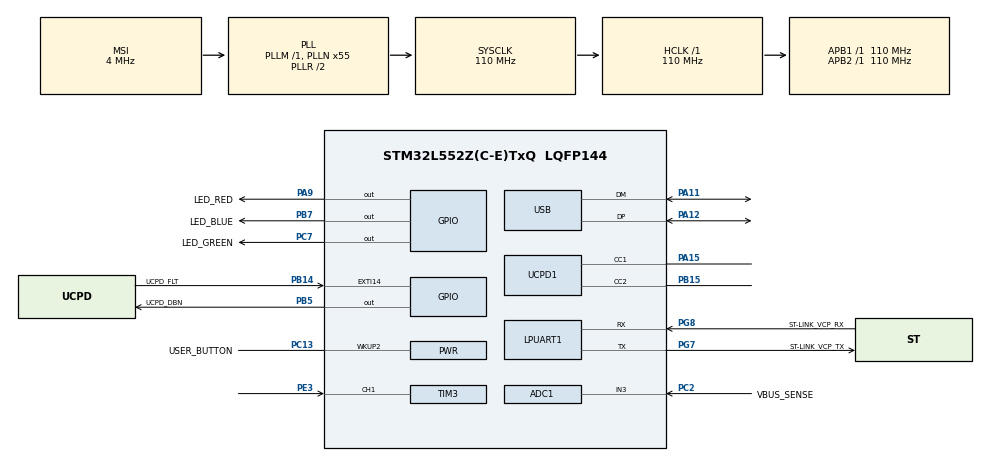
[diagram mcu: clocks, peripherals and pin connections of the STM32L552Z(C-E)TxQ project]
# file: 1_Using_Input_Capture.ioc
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ADC1.Channel-0\#ChannelRegularConversion=ADC_CHANNEL_3
ADC1.NbrOfConversionFlag=1
ADC1.OffsetNumber-0\#ChannelRegularConversion=ADC_OFFSET_NONE
ADC1.Rank-0\#ChannelRegularConversion=1
ADC1.SamplingTime-0\#ChannelRegularConversion=ADC_SAMPLETIME_2CYCLES_5
ADC1.master=1
Mcu.Family=STM32L5
Mcu.Name=STM32L552Z(C-E)TxQ
Mcu.Package=LQFP144
Mcu.TrustZone=disable
NVIC.PriorityGroup=NVIC_PRIORITYGROUP_3
NVIC.TIM3_IRQn=true\:0\:0\:false\:false\:true\:true\:true\:true
PA11.Mode=Device
PA11.Signal=USB_DM
PA12.Mode=Device
PA12.Signal=USB_DP
PA13\ (JTMS/SWDIO).Mode=Trace_Asynchronous_SW
PA13\ (JTMS/SWDIO).Signal=DEBUG_JTMS-SWDIO
PA14\ (JTCK/SWCLK).Mode=Trace_Asynchronous_SW
PA14\ (JTCK/SWCLK).Signal=DEBUG_JTCK-SWCLK
PA15\ (JTDI).Mode=Source_AllSignals
PA15\ (JTDI).Signal=UCPD1_CC1
PA9.GPIO_Label=LED_RED
PA9.Signal=GPIO_Output
PB14.GPIO_Label=UCPD_FLT
PB14.Signal=GPXTI14
PB15.Mode=Source_AllSignals
PB15.Signal=UCPD1_CC2
PB3\ (JTDO/TRACESWO).Mode=Trace_Asynchronous_SW
PB3\ (JTDO/TRACESWO).Signal=DEBUG_JTDO-SWO
PB5.GPIO_Label=UCPD_DBN
PB5.Signal=GPIO_Output
PB7.GPIO_Label=LED_BLUE
PB7.Signal=GPIO_Output
PC13.GPIO_Label=USER_BUTTON
PC13.Mode=WakeUp1
PC13.Signal=PWR_WKUP2
PC14-OSC32_IN\ (PC14).Mode=LSE-External-Oscillator
PC14-OSC32_IN\ (PC14).Signal=RCC_OSC32_IN
PC15-OSC32_OUT\ (PC15).Mode=LSE-External-Oscillator
PC15-OSC32_OUT\ (PC15).Signal=RCC_OSC32_OUT
PC2.GPIO_Label=VBUS_SENSE
PC2.Signal=ADCx_IN3
PC7.GPIO_Label=LED_GREEN
PC7.Signal=GPIO_Output
PE3.Signal=S_TIM3_CH1
PG7.GPIO_Label=ST-LINK_VCP_TX
PG7.Mode=Asynchronous
PG7.Signal=LPUART1_TX
PG8.GPIO_Label=ST-LINK_VCP_RX
PG8.Mode=Asynchronous
PG8.Signal=LPUART1_RX
ProjectManager.HeapSize=0x200
ProjectManager.StackSize=0x400
ProjectManager.TargetToolchain=STM32CubeIDE
RCC.ADCCLockSelection=RCC_ADCCLKSOURCE_SYSCLK
RCC.ADCFreq_Value=110000000
RCC.AHBFreq_Value=110000000
RCC.APB1Freq_Value=110000000
RCC.APB1TimFreq_Value=110000000
RCC.APB2Freq_Value=110000000
RCC.APB2TimFreq_Value=110000000
RCC.CK48CLockSelection=RCC_USBCLKSOURCE_HSI48
RCC.CortexFreq_Value=110000000
RCC.HCLKFreq_Value=110000000
RCC.HSE_VALUE=8000000
RCC.HSI48_VALUE=48000000
RCC.HSI_VALUE=16000000
RCC.MSI_VALUE=4000000
RCC.PLLN=55
RCC.PLLSAI1N=24
RCC.RTCClockSelection=RCC_RTCCLKSOURCE_LSE
RCC.SYSCLKFreq_VALUE=110000000
RCC.SYSCLKSource=RCC_SYSCLKSOURCE_PLLCLK
RCC.USBFreq_Value=48000000
RCC.VCOOutputFreq_Value=220000000
SH.ADCx_IN3.0=ADC1_IN3,IN3-Single-Ended
SH.S_TIM3_CH1.0=TIM3_CH1,Input_Capture1_from_TI1
TIM3.Channel-Input_Capture1_from_TI1=TIM_CHANNEL_1
TIM3.Period=65536-1
VP_PWR_VS_DBSignals.Mode=DisableDeadBatterySignals
VP_RTC_VS_RTC_Activate.Mode=RTC_Enabled
board=NUCLEO-L552ZE-Q

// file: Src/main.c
/* USER CODE BEGIN Header */
/**
  ******************************************************************************
  * @file           : main.c
  * @brief          : Main program body
  ******************************************************************************
  * @attention
  *
  * Copyright (c) 2022 STMicroelectronics.
  * All rights reserved.
  *
  * This software is licensed under terms that can be found in the LICENSE file
  * in the root directory of this software component.
  * If no LICENSE file comes with this software, it is provided AS-IS.
  *
  ******************************************************************************
  */
/* USER CODE END Header */
#include "main.h"

ADC_HandleTypeDef hadc1;

UART_HandleTypeDef hlpuart1;

RTC_HandleTypeDef hrtc;

TIM_HandleTypeDef htim3;

PCD_HandleTypeDef hpcd_USB_FS;

void SystemClock_Config(void);
static void MX_GPIO_Init(void);
static void MX_ADC1_Init(void);
static void MX_LPUART1_UART_Init(void);
static void MX_RTC_Init(void);
static void MX_UCPD1_Init(void);
static void MX_USB_PCD_Init(void);
static void MX_TIM3_Init(void);

/* USER CODE BEGIN 0 */

uint32_t IC_Value1 = 0;
uint32_t IC_Value2 = 0;

uint32_t Difference = 0;

uint32_t PCLK1Freq = 0;
uint32_t PCLK2Freq = 0;

uint32_t Frequency = 0;

uint32_t i;

// is the first value captured ? 0-no 1-yes
uint8_t Is_First_Captured = 0;

void HAL_TIM_IC_CaptureCallback(TIM_HandleTypeDef *htim)
{
	// first we need to check for either the first value is captured or not
	if(Is_First_Captured == 0)	// if the first value is captured
	{
		IC_Value1 = HAL_TIM_ReadCapturedValue(htim, TIM_CHANNEL_1); // capture the first value
		Is_First_Captured = 1; // set that the value is captured now
	}
	else if(Is_First_Captured == 1) // iof the first value is captured
	{
		IC_Value2 = HAL_TIM_ReadCapturedValue(htim, TIM_CHANNEL_1); // capture the second value

		if(IC_Value2 > IC_Value1) // if the second is higher
		{
			Difference = IC_Value2 - IC_Value1; // calculate the difference
		}

		else if(IC_Value2 < IC_Value1) //
		{
			Difference = ( ( 0xffff - IC_Value1 ) + IC_Value2 ) + 1; // calculate the difference
		}

		else
		{
			Error_Handler();
		}

		// frequency = TIM3 CLOCK / difference

		// In my case TIM3 clock is same as PCLK1 clock

		PCLK1Freq = HAL_RCC_GetPCLK1Freq();
		PCLK2Freq = HAL_RCC_GetPCLK2Freq();

		Frequency = HAL_RCC_GetPCLK1Freq() / Difference;   // calculate frequency

		Is_First_Captured = 0; // reset the captured index

	}
}

// This is it for the callback function

/* USER CODE END 0 */

int main(void)
{

  /* MCU Configuration--------------------------------------------------------*/

  /* Reset of all peripherals, Initializes the Flash interface and the Systick. */
  HAL_Init();

  /* Configure the system clock */
  SystemClock_Config();

  /* Initialize all configured peripherals */
  MX_GPIO_Init();
  MX_ADC1_Init();
  MX_LPUART1_UART_Init();
  MX_RTC_Init();
  MX_UCPD1_Init();
  MX_USB_PCD_Init();
  MX_TIM3_Init();

  /* Infinite loop */
  while (1)
  {

  }
}

void SystemClock_Config(void)
{
  RCC_OscInitTypeDef RCC_OscInitStruct = {0};
  RCC_ClkInitTypeDef RCC_ClkInitStruct = {0};

  /** Configure the main internal regulator output voltage
  */
  if (HAL_PWREx_ControlVoltageScaling(PWR_REGULATOR_VOLTAGE_SCALE0) != HAL_OK)
  {
    Error_Handler();
  }

  /** Configure LSE Drive Capability
  */
  HAL_PWR_EnableBkUpAccess();
  __HAL_RCC_LSEDRIVE_CONFIG(RCC_LSEDRIVE_LOW);

  /** Initializes the RCC Oscillators according to the specified parameters
  * in the RCC_OscInitTypeDef structure.
  */
  RCC_OscInitStruct.OscillatorType = RCC_OSCILLATORTYPE_HSI48|RCC_OSCILLATORTYPE_LSE
                              |RCC_OSCILLATORTYPE_MSI;
  RCC_OscInitStruct.LSEState = RCC_LSE_ON;
  RCC_OscInitStruct.HSI48State = RCC_HSI48_ON;
  RCC_OscInitStruct.MSIState = RCC_MSI_ON;
  RCC_OscInitStruct.MSICalibrationValue = RCC_MSICALIBRATION_DEFAULT;
  RCC_OscInitStruct.MSIClockRange = RCC_MSIRANGE_6;
  RCC_OscInitStruct.PLL.PLLState = RCC_PLL_ON;
  RCC_OscInitStruct.PLL.PLLSource = RCC_PLLSOURCE_MSI;
  RCC_OscInitStruct.PLL.PLLM = 1;
  RCC_OscInitStruct.PLL.PLLN = 55;
  RCC_OscInitStruct.PLL.PLLP = RCC_PLLP_DIV7;
  RCC_OscInitStruct.PLL.PLLQ = RCC_PLLQ_DIV2;
  RCC_OscInitStruct.PLL.PLLR = RCC_PLLR_DIV2;
  if (HAL_RCC_OscConfig(&RCC_OscInitStruct) != HAL_OK)
  {
    Error_Handler();
  }

  /** Initializes the CPU, AHB and APB buses clocks
  */
  RCC_ClkInitStruct.ClockType = RCC_CLOCKTYPE_HCLK|RCC_CLOCKTYPE_SYSCLK
                              |RCC_CLOCKTYPE_PCLK1|RCC_CLOCKTYPE_PCLK2;
  RCC_ClkInitStruct.SYSCLKSource = RCC_SYSCLKSOURCE_PLLCLK;
  RCC_ClkInitStruct.AHBCLKDivider = RCC_SYSCLK_DIV1;
  RCC_ClkInitStruct.APB1CLKDivider = RCC_HCLK_DIV1;
  RCC_ClkInitStruct.APB2CLKDivider = RCC_HCLK_DIV1;

  if (HAL_RCC_ClockConfig(&RCC_ClkInitStruct, FLASH_LATENCY_5) != HAL_OK)
  {
    Error_Handler();
  }
}

static void MX_ADC1_Init(void)
{

  ADC_MultiModeTypeDef multimode = {0};
  ADC_ChannelConfTypeDef sConfig = {0};

  /** Common config
  */
  hadc1.Instance = ADC1;
  hadc1.Init.ClockPrescaler = ADC_CLOCK_ASYNC_DIV1;
  hadc1.Init.Resolution = ADC_RESOLUTION_12B;
  hadc1.Init.DataAlign = ADC_DATAALIGN_RIGHT;
  hadc1.Init.ScanConvMode = ADC_SCAN_DISABLE;
  hadc1.Init.EOCSelection = ADC_EOC_SINGLE_CONV;
  hadc1.Init.LowPowerAutoWait = DISABLE;
  hadc1.Init.ContinuousConvMode = DISABLE;
  hadc1.Init.NbrOfConversion = 1;
  hadc1.Init.DiscontinuousConvMode = DISABLE;
  hadc1.Init.ExternalTrigConv = ADC_SOFTWARE_START;
  hadc1.Init.ExternalTrigConvEdge = ADC_EXTERNALTRIGCONVEDGE_NONE;
  hadc1.Init.DMAContinuousRequests = DISABLE;
  hadc1.Init.Overrun = ADC_OVR_DATA_PRESERVED;
  hadc1.Init.OversamplingMode = DISABLE;
  if (HAL_ADC_Init(&hadc1) != HAL_OK)
  {
    Error_Handler();
  }

  /** Configure the ADC multi-mode
  */
  multimode.Mode = ADC_MODE_INDEPENDENT;
  if (HAL_ADCEx_MultiModeConfigChannel(&hadc1, &multimode) != HAL_OK)
  {
    Error_Handler();
  }

  /** Configure Regular Channel
  */
  sConfig.Channel = ADC_CHANNEL_3;
  sConfig.Rank = ADC_REGULAR_RANK_1;
  sConfig.SamplingTime = ADC_SAMPLETIME_2CYCLES_5;
  sConfig.SingleDiff = ADC_SINGLE_ENDED;
  sConfig.OffsetNumber = ADC_OFFSET_NONE;
  sConfig.Offset = 0;
  if (HAL_ADC_ConfigChannel(&hadc1, &sConfig) != HAL_OK)
  {
    Error_Handler();
  }

}

static void MX_LPUART1_UART_Init(void)
{

  hlpuart1.Instance = LPUART1;
  hlpuart1.Init.BaudRate = 209700;
  hlpuart1.Init.WordLength = UART_WORDLENGTH_8B;
  hlpuart1.Init.StopBits = UART_STOPBITS_1;
  hlpuart1.Init.Parity = UART_PARITY_NONE;
  hlpuart1.Init.Mode = UART_MODE_TX_RX;
  hlpuart1.Init.HwFlowCtl = UART_HWCONTROL_NONE;
  hlpuart1.Init.OneBitSampling = UART_ONE_BIT_SAMPLE_DISABLE;
  hlpuart1.Init.ClockPrescaler = UART_PRESCALER_DIV1;
  hlpuart1.AdvancedInit.AdvFeatureInit = UART_ADVFEATURE_NO_INIT;
  hlpuart1.FifoMode = UART_FIFOMODE_DISABLE;
  if (HAL_UART_Init(&hlpuart1) != HAL_OK)
  {
    Error_Handler();
  }
  if (HAL_UARTEx_SetTxFifoThreshold(&hlpuart1, UART_TXFIFO_THRESHOLD_1_8) != HAL_OK)
  {
    Error_Handler();
  }
  if (HAL_UARTEx_SetRxFifoThreshold(&hlpuart1, UART_RXFIFO_THRESHOLD_1_8) != HAL_OK)
  {
    Error_Handler();
  }
  if (HAL_UARTEx_DisableFifoMode(&hlpuart1) != HAL_OK)
  {
    Error_Handler();
  }

}

static void MX_RTC_Init(void)
{

  RTC_PrivilegeStateTypeDef privilegeState = {0};

  /** Initialize RTC Only
  */
  hrtc.Instance = RTC;
  hrtc.Init.HourFormat = RTC_HOURFORMAT_24;
  hrtc.Init.AsynchPrediv = 127;
  hrtc.Init.SynchPrediv = 255;
  hrtc.Init.OutPut = RTC_OUTPUT_DISABLE;
  hrtc.Init.OutPutRemap = RTC_OUTPUT_REMAP_NONE;
  hrtc.Init.OutPutPolarity = RTC_OUTPUT_POLARITY_HIGH;
  hrtc.Init.OutPutType = RTC_OUTPUT_TYPE_OPENDRAIN;
  hrtc.Init.OutPutPullUp = RTC_OUTPUT_PULLUP_NONE;
  if (HAL_RTC_Init(&hrtc) != HAL_OK)
  {
    Error_Handler();
  }
  privilegeState.rtcPrivilegeFull = RTC_PRIVILEGE_FULL_NO;
  privilegeState.backupRegisterPrivZone = RTC_PRIVILEGE_BKUP_ZONE_NONE;
  privilegeState.backupRegisterStartZone2 = RTC_BKP_DR0;
  privilegeState.backupRegisterStartZone3 = RTC_BKP_DR0;
  if (HAL_RTCEx_PrivilegeModeSet(&hrtc, &privilegeState) != HAL_OK)
  {
    Error_Handler();
  }

}

static void MX_TIM3_Init(void)
{

  TIM_MasterConfigTypeDef sMasterConfig = {0};
  TIM_IC_InitTypeDef sConfigIC = {0};

  htim3.Instance = TIM3;
  htim3.Init.Prescaler = 0;
  htim3.Init.CounterMode = TIM_COUNTERMODE_UP;
  htim3.Init.Period = 65536-1;
  htim3.Init.ClockDivision = TIM_CLOCKDIVISION_DIV1;
  htim3.Init.AutoReloadPreload = TIM_AUTORELOAD_PRELOAD_DISABLE;
  if (HAL_TIM_IC_Init(&htim3) != HAL_OK)
  {
    Error_Handler();
  }
  sMasterConfig.MasterOutputTrigger = TIM_TRGO_RESET;
  sMasterConfig.MasterSlaveMode = TIM_MASTERSLAVEMODE_DISABLE;
  if (HAL_TIMEx_MasterConfigSynchronization(&htim3, &sMasterConfig) != HAL_OK)
  {
    Error_Handler();
  }
  sConfigIC.ICPolarity = TIM_INPUTCHANNELPOLARITY_RISING;
  sConfigIC.ICSelection = TIM_ICSELECTION_DIRECTTI;
  sConfigIC.ICPrescaler = TIM_ICPSC_DIV1;
  sConfigIC.ICFilter = 0;
  if (HAL_TIM_IC_ConfigChannel(&htim3, &sConfigIC, TIM_CHANNEL_1) != HAL_OK)
  {
    Error_Handler();
  }

}

static void MX_UCPD1_Init(void)
{

  LL_GPIO_InitTypeDef GPIO_InitStruct = {0};

  /* Peripheral clock enable */
  LL_APB1_GRP2_EnableClock(LL_APB1_GRP2_PERIPH_UCPD1);

  LL_AHB2_GRP1_EnableClock(LL_AHB2_GRP1_PERIPH_GPIOB);
  LL_AHB2_GRP1_EnableClock(LL_AHB2_GRP1_PERIPH_GPIOA);
  /**UCPD1 GPIO Configuration
  PB15   ------> UCPD1_CC2
  PA15 (JTDI)   ------> UCPD1_CC1
  */
  GPIO_InitStruct.Pin = LL_GPIO_PIN_15;
  GPIO_InitStruct.Mode = LL_GPIO_MODE_ANALOG;
  GPIO_InitStruct.Pull = LL_GPIO_PULL_NO;
  LL_GPIO_Init(GPIOB, &GPIO_InitStruct);

  GPIO_InitStruct.Pin = LL_GPIO_PIN_15;
  GPIO_InitStruct.Mode = LL_GPIO_MODE_ANALOG;
  GPIO_InitStruct.Pull = LL_GPIO_PULL_NO;
  LL_GPIO_Init(GPIOA, &GPIO_InitStruct);

}

static void MX_USB_PCD_Init(void)
{

  hpcd_USB_FS.Instance = USB;
  hpcd_USB_FS.Init.dev_endpoints = 8;
  hpcd_USB_FS.Init.speed = PCD_SPEED_FULL;
  hpcd_USB_FS.Init.phy_itface = PCD_PHY_EMBEDDED;
  hpcd_USB_FS.Init.Sof_enable = DISABLE;
  hpcd_USB_FS.Init.low_power_enable = DISABLE;
  hpcd_USB_FS.Init.lpm_enable = DISABLE;
  hpcd_USB_FS.Init.battery_charging_enable = DISABLE;
  if (HAL_PCD_Init(&hpcd_USB_FS) != HAL_OK)
  {
    Error_Handler();
  }

}

static void MX_GPIO_Init(void)
{
  GPIO_InitTypeDef GPIO_InitStruct = {0};

  /* GPIO Ports Clock Enable */
  __HAL_RCC_GPIOE_CLK_ENABLE();
  __HAL_RCC_GPIOC_CLK_ENABLE();
  __HAL_RCC_GPIOB_CLK_ENABLE();
  __HAL_RCC_GPIOG_CLK_ENABLE();
  HAL_PWREx_EnableVddIO2();
  __HAL_RCC_GPIOA_CLK_ENABLE();

  /*Configure GPIO pin Output Level */
  HAL_GPIO_WritePin(LED_GREEN_GPIO_Port, LED_GREEN_Pin, GPIO_PIN_RESET);

  /*Configure GPIO pin Output Level */
  HAL_GPIO_WritePin(LED_RED_GPIO_Port, LED_RED_Pin, GPIO_PIN_RESET);

  /*Configure GPIO pin Output Level */
  HAL_GPIO_WritePin(GPIOB, UCPD_DBN_Pin|LED_BLUE_Pin, GPIO_PIN_RESET);

  /*Configure GPIO pin : UCPD_FLT_Pin */
  GPIO_InitStruct.Pin = UCPD_FLT_Pin;
  GPIO_InitStruct.Mode = GPIO_MODE_IT_RISING;
  GPIO_InitStruct.Pull = GPIO_NOPULL;
  HAL_GPIO_Init(UCPD_FLT_GPIO_Port, &GPIO_InitStruct);

  /*Configure GPIO pin : LED_GREEN_Pin */
  GPIO_InitStruct.Pin = LED_GREEN_Pin;
  GPIO_InitStruct.Mode = GPIO_MODE_OUTPUT_PP;
  GPIO_InitStruct.Pull = GPIO_NOPULL;
  GPIO_InitStruct.Speed = GPIO_SPEED_FREQ_LOW;
  HAL_GPIO_Init(LED_GREEN_GPIO_Port, &GPIO_InitStruct);

  /*Configure GPIO pin : LED_RED_Pin */
  GPIO_InitStruct.Pin = LED_RED_Pin;
  GPIO_InitStruct.Mode = GPIO_MODE_OUTPUT_PP;
  GPIO_InitStruct.Pull = GPIO_NOPULL;
  GPIO_InitStruct.Speed = GPIO_SPEED_FREQ_LOW;
  HAL_GPIO_Init(LED_RED_GPIO_Port, &GPIO_InitStruct);

  /*Configure GPIO pins : UCPD_DBN_Pin LED_BLUE_Pin */
  GPIO_InitStruct.Pin = UCPD_DBN_Pin|LED_BLUE_Pin;
  GPIO_InitStruct.Mode = GPIO_MODE_OUTPUT_PP;
  GPIO_InitStruct.Pull = GPIO_NOPULL;
  GPIO_InitStruct.Speed = GPIO_SPEED_FREQ_LOW;
  HAL_GPIO_Init(GPIOB, &GPIO_InitStruct);

}

void Error_Handler(void)
{
  __disable_irq();
  while (1)
  {
  }
}
